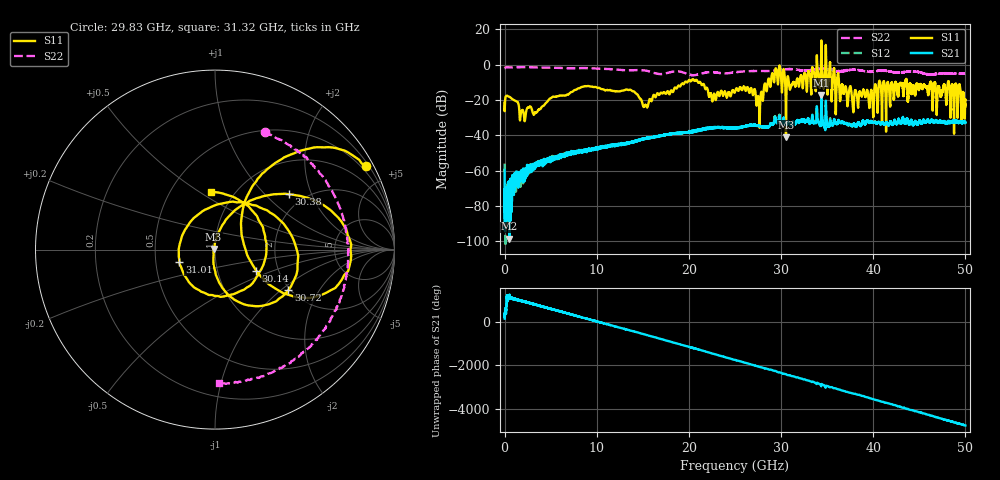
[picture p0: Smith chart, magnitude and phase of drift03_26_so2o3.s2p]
!Created with skrf (http://scikit-rf.org).
# Hz S RI R 50.0
!freq ReS11 ImS11 ReS21 ImS21 ReS12 ImS12 ReS22 ImS22
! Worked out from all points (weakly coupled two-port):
!   10001 points, 300 kHz to 50 GHz, reference 50 ohm
!   highest |S21| = -17.14 dB at 34.37 GHz (marker M1); lowest = -98.7 dB at 525.3 MHz (marker M2)
!   lowest |S11| = -41.2 dB at 30.53 GHz (marker M3), VSWR 1.02, Z = 49.2 + j0.371 ohm
!   |S11| at or under -10 dB: start of sweep to 19.55 GHz; 21.25 GHz to 28.55 GHz (7.298 GHz wide, 29.3 % of centre); 36.28 GHz to 40.63 GHz (4.341 GHz wide, 11.3 % of centre) (the widest 3 of 40)
!   |S22| runs from -5.9 to -1.3 dB; largest |S21 - S12| = 0.026
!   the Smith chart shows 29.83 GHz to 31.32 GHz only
!   S11 on the Smith chart (normalised r, x): 29.83 GHz: 0.34, +3.85; 30.14 GHz: 1.54, -0.39; 30.38 GHz: 1.67, +1.40; 30.72 GHz: 1.96, -1.12; 31.01 GHz: 0.66, -0.09; 31.32 GHz: 0.78, +0.56
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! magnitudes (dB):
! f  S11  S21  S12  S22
! 300 kHz  -21.6  -59.5  -56.0  -2.1
! 525.3 MHz  -18.2  -98.7  -66.9  -1.5
! 3.3 GHz  -27.3  -58.8  -56.9  -1.5
! 8.335 GHz  -12.7  -49.2  -48.7  -1.9
! 15.28 GHz  -22.8  -41.7  -41.8  -3.3
! 16.67 GHz  -16.5  -40.6  -40.5  -5.2
! 20.26 GHz  -9.2  -38.4  -38.3  -5.8
! 22.71 GHz  -16.5  -35.6  -35.7  -4.2
! 25 GHz  -15.3  -35.8  -35.9  -4.3
! 27.53 GHz  -17.8  -34.6  -34.4  -3.5
! 29.83 GHz  -0.4  -29.4  -28.6  -3.0
! 30.14 GHz  -11.8  -33.3  -33.5  -2.8
! 30.38 GHz  -5.8  -32.3  -32.5  -2.6
! 30.53 GHz  -41.2  -34.2  -34.1  -2.6
! 30.72 GHz  -6.6  -32.8  -32.9  -2.5
! 31.01 GHz  -13.6  -34.1  -34.2  -2.5
! 31.32 GHz  -9.8  -32.4  -32.4  -2.5
! 33.34 GHz  -7.4  -31.1  -31.4  -2.9
! 34.37 GHz  13.8  -17.1  -18.1  -2.3
! 37.85 GHz  -27.0  -33.9  -34.3  -2.8
! 41.67 GHz  -11.5  -34.3  -34.3  -3.7
! 50 GHz  -19.8  -32.7  -32.7  -5.0
